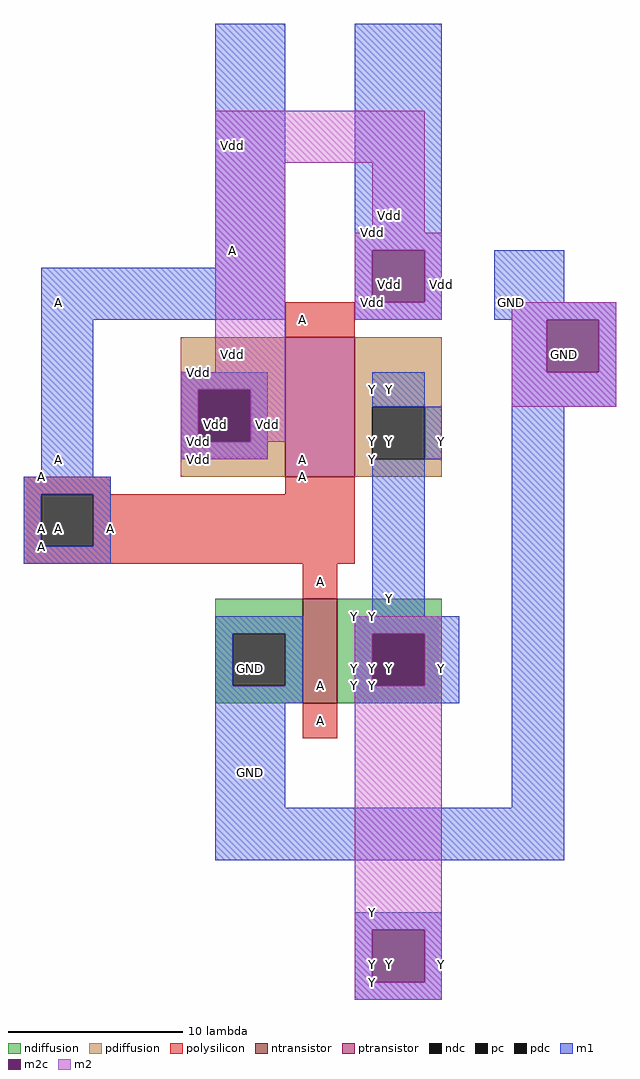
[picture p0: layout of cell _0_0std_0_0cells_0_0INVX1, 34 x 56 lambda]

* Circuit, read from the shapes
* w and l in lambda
.subckt _0_0std_0_0cells_0_0INVX1 Y A
M1 Y A GND VSUBS nfet w=6 l=2
M2 Y A Vdd NWELL pfet w=8 l=4
.ends

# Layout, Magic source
magic
tech sky130l
<< ndiffusion >>
rect 16 26 21 28
rect 16 23 17 26
rect 20 23 21 26
rect 16 22 21 23
rect 23 26 29 28
rect 23 23 25 26
rect 28 23 29 26
rect 23 22 29 23
<< ndc >>
rect 17 23 20 26
rect 25 23 28 26
<< ntransistor >>
rect 21 22 23 28
<< pdiffusion >>
rect 14 40 20 43
rect 14 37 15 40
rect 18 37 20 40
rect 14 35 20 37
rect 24 39 29 43
rect 24 36 25 39
rect 28 36 29 39
rect 24 35 29 36
<< pdc >>
rect 15 37 18 40
rect 25 36 28 39
<< ptransistor >>
rect 20 35 24 43
<< polysilicon >>
rect 20 43 24 45
rect 5 34 10 35
rect 20 34 24 35
rect 5 31 6 34
rect 9 31 24 34
rect 5 30 24 31
rect 21 28 23 30
rect 21 20 23 22
<< pc >>
rect 6 31 9 34
<< m1 >>
rect 16 47 20 61
rect 6 44 20 47
rect 24 48 29 61
rect 24 45 25 48
rect 28 45 29 48
rect 24 44 29 45
rect 32 45 36 48
rect 32 44 39 45
rect 6 35 9 44
rect 33 41 35 44
rect 38 41 39 44
rect 14 40 19 41
rect 14 37 15 40
rect 18 37 19 40
rect 14 36 19 37
rect 25 39 28 41
rect 33 39 39 41
rect 28 36 29 39
rect 5 34 10 35
rect 5 31 6 34
rect 9 31 10 34
rect 5 30 10 31
rect 25 27 28 36
rect 16 26 21 27
rect 16 23 17 26
rect 20 23 21 26
rect 16 22 21 23
rect 24 26 30 27
rect 24 23 25 26
rect 28 23 30 26
rect 24 22 30 23
rect 16 16 20 22
rect 33 16 36 39
rect 16 13 36 16
rect 24 9 29 10
rect 24 6 25 9
rect 28 6 29 9
rect 24 5 29 6
<< m2c >>
rect 25 45 28 48
rect 35 41 38 44
rect 15 37 18 40
rect 25 23 28 26
rect 25 6 28 9
<< m2 >>
rect 16 53 28 56
rect 16 41 20 53
rect 25 49 28 53
rect 24 48 29 49
rect 24 45 25 48
rect 28 45 29 48
rect 24 44 29 45
rect 33 44 39 45
rect 14 40 20 41
rect 14 37 15 40
rect 18 37 20 40
rect 33 41 35 44
rect 38 41 39 44
rect 33 39 39 41
rect 14 36 19 37
rect 24 26 29 27
rect 24 23 25 26
rect 28 23 29 26
rect 24 9 29 23
rect 24 6 25 9
rect 28 6 29 9
rect 24 5 29 6
<< labels >>
rlabel polysilicon 22 29 22 29 3 A
rlabel polysilicon 21 35 21 35 3 A
rlabel ndiffusion 24 23 24 23 3 Y
rlabel ndiffusion 24 24 24 24 3 Y
rlabel ndiffusion 24 27 24 27 3 Y
rlabel pdiffusion 25 36 25 36 3 Y
rlabel pdiffusion 25 37 25 37 3 Y
rlabel pdiffusion 25 40 25 40 3 Y
rlabel polysilicon 21 44 21 44 3 A
rlabel polysilicon 22 21 22 21 3 A
rlabel ntransistor 22 23 22 23 3 A
rlabel ptransistor 21 36 21 36 3 A
rlabel pdiffusion 15 36 15 36 3 Vdd
rlabel m1 29 37 29 37 3 Y
port 1 e
rlabel m1 33 45 33 45 3 GND
rlabel m1 26 28 26 28 3 Y
port 1 e
rlabel pdc 26 37 26 37 3 Y
port 1 e
rlabel m1 26 40 26 40 3 Y
port 1 e
rlabel m1 25 23 25 23 3 Y
port 1 e
rlabel m1 17 48 17 48 3 A
port 2 e
rlabel m1 10 32 10 32 3 A
port 2 e
rlabel pc 7 32 7 32 3 A
port 2 e
rlabel m1 7 36 7 36 3 A
port 2 e
rlabel m1 7 45 7 45 3 A
port 2 e
rlabel m1 6 31 6 31 3 A
port 2 e
rlabel m1 6 32 6 32 3 A
port 2 e
rlabel m1 6 35 6 35 3 A
port 2 e
rlabel m2 29 46 29 46 3 Vdd
rlabel m2c 26 46 26 46 3 Vdd
rlabel m2 26 50 26 50 3 Vdd
rlabel m2 29 7 29 7 3 Y
port 1 e
rlabel m2 29 24 29 24 3 Y
port 1 e
rlabel m2 25 45 25 45 3 Vdd
rlabel m2 25 46 25 46 3 Vdd
rlabel m2 25 49 25 49 3 Vdd
rlabel m2c 26 7 26 7 3 Y
port 1 e
rlabel m2c 26 24 26 24 3 Y
port 1 e
rlabel m2 25 6 25 6 3 Y
port 1 e
rlabel m2 25 7 25 7 3 Y
port 1 e
rlabel m2 25 10 25 10 3 Y
port 1 e
rlabel m2 25 24 25 24 3 Y
port 1 e
rlabel m2 25 27 25 27 3 Y
port 1 e
rlabel m2 19 38 19 38 3 Vdd
rlabel m2 17 42 17 42 3 Vdd
rlabel m2 17 54 17 54 3 Vdd
rlabel m2c 16 38 16 38 3 Vdd
rlabel m2 15 37 15 37 3 Vdd
rlabel m2 15 38 15 38 3 Vdd
rlabel m2 15 41 15 41 3 Vdd
rlabel m2c 36 42 36 42 7 GND
rlabel ndc 18 24 18 24 1 GND
rlabel m1 18 18 18 18 1 GND
<< end >>
